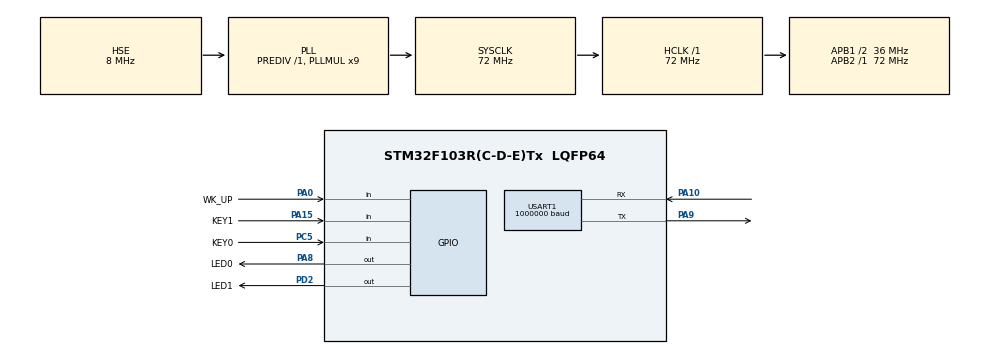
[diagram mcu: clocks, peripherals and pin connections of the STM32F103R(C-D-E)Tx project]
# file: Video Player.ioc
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Mcu.Family=STM32F1
Mcu.Name=STM32F103R(C-D-E)Tx
Mcu.Package=LQFP64
NVIC.PriorityGroup=NVIC_PRIORITYGROUP_4
NVIC.TIM3_IRQn=true\:2\:0\:true\:false\:true\:true\:true\:true
NVIC.USART1_IRQn=true\:1\:0\:true\:false\:true\:true\:true\:true
PA0-WKUP.GPIO_Label=WK_UP
PA0-WKUP.GPIO_PuPd=GPIO_PULLDOWN
PA0-WKUP.Signal=GPIO_Input
PA10.Mode=Asynchronous
PA10.Signal=USART1_RX
PA13.Mode=Serial_Wire
PA13.Signal=SYS_JTMS-SWDIO
PA14.Mode=Serial_Wire
PA14.Signal=SYS_JTCK-SWCLK
PA15.GPIO_Label=KEY1
PA15.Signal=GPIO_Input
PA8.GPIO_Label=LED0
PA8.Signal=GPIO_Output
PA9.Mode=Asynchronous
PA9.Signal=USART1_TX
PC5.GPIO_Label=KEY0
PC5.GPIO_PuPd=GPIO_PULLUP
PC5.Signal=GPIO_Input
PD0-OSC_IN.Mode=HSE-External-Oscillator
PD0-OSC_IN.Signal=RCC_OSC_IN
PD1-OSC_OUT.Mode=HSE-External-Oscillator
PD1-OSC_OUT.Signal=RCC_OSC_OUT
PD2.GPIO_Label=LED1
PD2.Signal=GPIO_Output
ProjectManager.HeapSize=0x200
ProjectManager.StackSize=0x400
ProjectManager.TargetToolchain=STM32CubeIDE
RCC.AHBFreq_Value=72000000
RCC.APB1CLKDivider=RCC_HCLK_DIV2
RCC.APB1Freq_Value=36000000
RCC.APB1TimFreq_Value=72000000
RCC.APB2Freq_Value=72000000
RCC.APB2TimFreq_Value=72000000
RCC.HCLKFreq_Value=72000000
RCC.PLLMUL=RCC_PLL_MUL9
RCC.PLLSourceVirtual=RCC_PLLSOURCE_HSE
RCC.SYSCLKFreq_VALUE=72000000
RCC.SYSCLKSource=RCC_SYSCLKSOURCE_PLLCLK
RCC.USBFreq_Value=72000000
TIM3.Period=999
TIM3.Prescaler=7199
USART1.BaudRate=1000000
USART1.VirtualMode=VM_ASYNC
VP_TIM3_VS_ClockSourceINT.Mode=Internal
board=custom

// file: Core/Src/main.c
/* USER CODE BEGIN Header */
/**
  ******************************************************************************
  * @file           : main.c
  * @brief          : Main program body
  ******************************************************************************
  * @attention
  *
  * Copyright (c) 2024 STMicroelectronics.
  * All rights reserved.
  *
  * This software is licensed under terms that can be found in the LICENSE file
  * in the root directory of this software component.
  * If no LICENSE file comes with this software, it is provided AS-IS.
  *
  ******************************************************************************
  */
/* USER CODE END Header */
#include "main.h"
#include "tim.h"
#include "usart.h"
#include "gpio.h"

/* USER CODE BEGIN Includes */
#include "stdio.h"
#include "lcd.h"
#include "debounce.h"
/* USER CODE END Includes */

/* USER CODE BEGIN PTD */
typedef enum{
  SIZE_NORMAL = 1,
  SIZE_DOUBLE = 2,
  SIZE_TRIPLE = 3
}FrameSize;

typedef enum{
  ON,
  OFF
}SystemState;

typedef enum{
  NORMAL = 1,
  FAST = 2,
  SLOW = 3
}SpeedMode;
/* USER CODE END PTD */

/* USER CODE BEGIN PM */
#define FRAME_HEIGHT 45
#define FRAME_WIDTH  60
#define INPUT_BUFFER_SIZE 2
#define FAST_OR_SLOW_MARK 0xAA
#define PLAY_OR_PAUSE_MARK 0xBB
/* USER CODE END PM */

/* USER CODE BEGIN PV */
extern TIM_HandleTypeDef htim3;
extern UART_HandleTypeDef huart1;
extern Key_HandleTypeDef Key0;  // Key handler (defined in debounce.c, used for input debouncing)
extern Key_HandleTypeDef Key1;
extern Key_HandleTypeDef Key_WKUP;

extern uint16_t rxBuffer[1];
extern uint16_t txBuffer[1];
extern uint16_t *front_buffer;
extern uint16_t *middle_buffer;
extern uint8_t frame_ready_flag;

extern uint16_t time_count;
extern uint8_t time_ready_flag;

SystemState system_state = ON;
FrameSize frame_size = SIZE_NORMAL;
SpeedMode speed_mode = NORMAL;
PlayState play_state = PLAY;

uint8_t key0_pressed_flag = 0;
uint8_t key1_pressed_flag = 0;
uint8_t key_wkup_pressed_flag = 0;

uint8_t str_buffer[50];
uint8_t input_buffer[INPUT_BUFFER_SIZE];
uint8_t input_count = 0;
/* USER CODE END PV */

void SystemClock_Config(void);
/* USER CODE BEGIN PFP */
void LCD_ShowPic(uint16_t x, uint16_t y, uint16_t column, uint16_t row, uint16_t *pic);
/* USER CODE END PFP */

int main(void)
{

  /* MCU Configuration--------------------------------------------------------*/

  /* Reset of all peripherals, Initializes the Flash interface and the Systick. */
  HAL_Init();

  /* Configure the system clock */
  SystemClock_Config();

  /* USER CODE BEGIN SysInit */
  LCD_Init();
  /* USER CODE END SysInit */

  /* Initialize all configured peripherals */
  MX_GPIO_Init();
  MX_TIM3_Init();
  MX_USART1_UART_Init();
  /* USER CODE BEGIN 2 */
  Debounce_InitKey0(); // Initialize the key debouncing functionality
  Debounce_InitKey1();
  Debounce_InitKeyWKUP();
  HAL_TIM_Base_Start_IT(&htim3);
  HAL_UART_Receive_IT(&huart1, (uint8_t *)rxBuffer, 2);

  LCD_ShowString(0, 270, 240, 24, 24, (uint8_t*) "Time: 0.0 s");
  LCD_ShowString(0, 294, 120, 24, 24, (uint8_t*) "Input: ");
  LCD_ShowString(120, 294, 120, 24, 24, (uint8_t*) "  NORMAL");
  /* USER CODE END 2 */

  /* Infinite loop */
  while (1)
  {

    /* USER CODE BEGIN 3 */
    if (system_state == OFF){
      continue;
    }

    key0_pressed_flag = Debounce_ReadPress(&Key0);
    key1_pressed_flag = Debounce_ReadPress(&Key1);
    key_wkup_pressed_flag = Debounce_ReadPress(&Key_WKUP);

    if (key_wkup_pressed_flag) {
      system_state = OFF;
      LCD_Clear(WHITE);
      LCD_ShowString(0, 130, 240, 24, 24, (uint8_t*) "     SYSTEM OFF     ");
      continue;
    }

    if (key0_pressed_flag || key1_pressed_flag) {
      if (key0_pressed_flag) {
        input_buffer[input_count] = 0;
        input_count++;
      } else if (key1_pressed_flag) {
        input_buffer[input_count] = 1;
        input_count++;
      }

      if (input_count == 1) {
        sprintf((char *)str_buffer, "Input: %d ", input_buffer[0]);
        LCD_ShowString(0, 294, 120, 24, 24, str_buffer);
      }else if (input_count == 2) {
        sprintf((char *)str_buffer, "Input: %d%d", input_buffer[0], input_buffer[1]);
        LCD_ShowString(0, 294, 120, 24, 24, str_buffer);
      }
    }

    if (input_count == INPUT_BUFFER_SIZE) {
      uint16_t opcode = (input_buffer[0] << 1) | input_buffer[1];
      switch (opcode) {
        case 0:
          switch (frame_size) {
            case SIZE_NORMAL:
              frame_size = SIZE_DOUBLE;
              break;
            case SIZE_DOUBLE:
              frame_size = SIZE_TRIPLE;
              break;
            case SIZE_TRIPLE:
              frame_size = SIZE_NORMAL;
              break;
            }
          LCD_Fill(0, 0, 240, 135, WHITE);
          break;
        case 1:
          LCD_Fill(0, 135, 240, 270, WHITE);
          LCD_ShowPic(0, 135, FRAME_WIDTH, FRAME_HEIGHT, front_buffer);
          break;
        case 2:
          switch (speed_mode) {
            case NORMAL:
              speed_mode = FAST;
              LCD_ShowString(120, 294, 120, 24, 24, (uint8_t*) "  FAST  ");
              break;
            case FAST:
              speed_mode = SLOW;
              LCD_ShowString(120, 294, 120, 24, 24, (uint8_t*) "  SLOW  ");
              break;
            case SLOW:
              speed_mode = NORMAL;
              LCD_ShowString(120, 294, 120, 24, 24, (uint8_t*) "  NORMAL");
              break;
          }
          txBuffer[0] = FAST_OR_SLOW_MARK << 8 | speed_mode;
          HAL_UART_Transmit_IT(&huart1, (uint8_t *)txBuffer, 2);
          break;
        case 3:
          switch (play_state) {
            case PLAY:
              play_state = PAUSE;
              LCD_ShowString(200, 0, 24, 24, 24, (uint8_t*) "P");
              LCD_ShowString(200, 24, 24, 24, 24, (uint8_t*) "A");
              LCD_ShowString(200, 48, 24, 24, 24, (uint8_t*) "U");
              LCD_ShowString(200, 72, 24, 24, 24, (uint8_t*) "S");
              LCD_ShowString(200, 96, 24, 24, 24, (uint8_t*) "E");
              LCD_ShowString(200, 120, 24, 24, 24, (uint8_t*) "D");
              break;
            case PAUSE:
              play_state = PLAY;
              LCD_Fill(200, 0, 240, 144, WHITE);
              break;
          }
          txBuffer[0] = PLAY_OR_PAUSE_MARK << 8 | play_state;
          HAL_UART_Transmit_IT(&huart1, (uint8_t *)txBuffer, 2);
          break;
      }
      input_count = 0;
      LCD_ShowString(0, 294, 120, 24, 24, (uint8_t*) "Input:   ");
    }

    if (frame_ready_flag) {
      LCD_ShowPic(0, 0, FRAME_WIDTH, FRAME_HEIGHT, front_buffer);
      uint16_t *temp = front_buffer;
      front_buffer = middle_buffer;
      middle_buffer = temp;
      frame_ready_flag = 0;
    }

    if (time_ready_flag) {
      sprintf((char *)str_buffer, "Time: %d.%d s", time_count / 10, time_count % 10);
      LCD_ShowString(0, 270, 240, 24, 24, str_buffer);
      time_ready_flag = 0;
    }
  }
  /* USER CODE END 3 */
}

void SystemClock_Config(void)
{
  RCC_OscInitTypeDef RCC_OscInitStruct = {0};
  RCC_ClkInitTypeDef RCC_ClkInitStruct = {0};

  /** Initializes the RCC Oscillators according to the specified parameters
  * in the RCC_OscInitTypeDef structure.
  */
  RCC_OscInitStruct.OscillatorType = RCC_OSCILLATORTYPE_HSE;
  RCC_OscInitStruct.HSEState = RCC_HSE_ON;
  RCC_OscInitStruct.HSEPredivValue = RCC_HSE_PREDIV_DIV1;
  RCC_OscInitStruct.HSIState = RCC_HSI_ON;
  RCC_OscInitStruct.PLL.PLLState = RCC_PLL_ON;
  RCC_OscInitStruct.PLL.PLLSource = RCC_PLLSOURCE_HSE;
  RCC_OscInitStruct.PLL.PLLMUL = RCC_PLL_MUL9;
  if (HAL_RCC_OscConfig(&RCC_OscInitStruct) != HAL_OK)
  {
    Error_Handler();
  }

  /** Initializes the CPU, AHB and APB buses clocks
  */
  RCC_ClkInitStruct.ClockType = RCC_CLOCKTYPE_HCLK|RCC_CLOCKTYPE_SYSCLK
                              |RCC_CLOCKTYPE_PCLK1|RCC_CLOCKTYPE_PCLK2;
  RCC_ClkInitStruct.SYSCLKSource = RCC_SYSCLKSOURCE_PLLCLK;
  RCC_ClkInitStruct.AHBCLKDivider = RCC_SYSCLK_DIV1;
  RCC_ClkInitStruct.APB1CLKDivider = RCC_HCLK_DIV2;
  RCC_ClkInitStruct.APB2CLKDivider = RCC_HCLK_DIV1;

  if (HAL_RCC_ClockConfig(&RCC_ClkInitStruct, FLASH_LATENCY_2) != HAL_OK)
  {
    Error_Handler();
  }
}

/* USER CODE BEGIN 4 */
void LCD_ShowPic(uint16_t x, uint16_t y, uint16_t column, uint16_t row, uint16_t *pic) {
  for (uint16_t j = 0; j < row; j++) {
    for (uint16_t i = 0; i < column; i++) {
      for (uint16_t m = 0; m < frame_size; m++) {
        for (uint16_t n = 0; n < frame_size; n++) {
          LCD_Fast_DrawPoint(x + i * frame_size + m, y + j * frame_size + n, *pic);
        }
      }
      pic++;
    }
  }
}
/* USER CODE END 4 */

void Error_Handler(void)
{
  __disable_irq();
  while (1)
  {
  }
}
